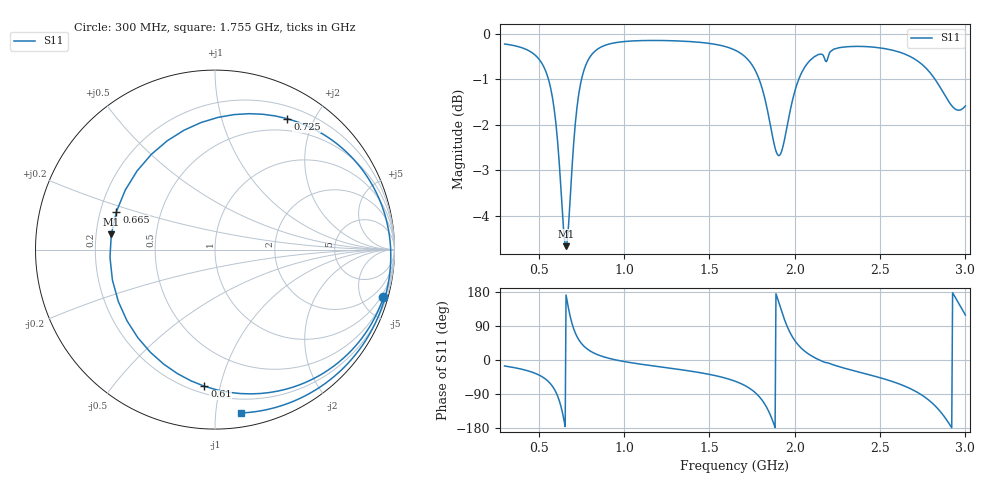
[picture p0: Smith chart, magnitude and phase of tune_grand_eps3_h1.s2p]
! grand-style spiral alone, coupling slab eps 3, 1 mm over the board
! simulated by sim/fixtures_fdtd.py (S12 = S21, S22 not computed)
# HZ S RI R 50
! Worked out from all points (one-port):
!   541 points, 300 MHz to 3 GHz, reference 50 ohm
!   lowest |S11| = -4.7 dB at 660 MHz (marker M1), VSWR 3.81, Z = 13.2 + j3.43 ohm
!   |S11| at or under -10 dB: nowhere
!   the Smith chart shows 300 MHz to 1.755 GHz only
!   S11 on the Smith chart (normalised r, x): 300 MHz: 0.66, -7.13; 610 MHz: 0.25, -0.89; 665 MHz: 0.27, +0.17; 725 MHz: 0.34, +1.64; 1.755 GHz: 0.10, -1.17
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3e8  0.9381 -0.2662  0 0  0 0  0 0
5.15e8  0.6816 -0.6338  0 0  0 0  0 0
6.1e8  -0.0592 -0.7613  0 0  0 0  0 0
6.6e8  -0.5777 0.0857  0 0  0 0  0 0
6.65e8  -0.5489 0.2123  0 0  0 0  0 0
6.95e8  -0.0772 0.7081  0 0  0 0  0 0
7.25e8  0.4031 0.7292  0 0  0 0  0 0
7.5e8  0.6423 0.617  0 0  0 0  0 0
8.7e8  0.9543 0.1663  0 0  0 0  0 0
1.2e9  0.939 -0.2938  0 0  0 0  0 0
1.65e9  0.5387 -0.7947  0 0  0 0  0 0
1.755e9  0.1433 -0.9103  0 0  0 0  0 0
1.83e9  -0.4279 -0.7242  0 0  0 0  0 0
1.89e9  -0.7405 0.0652  0 0  0 0  0 0
1.925e9  -0.437 0.6031  0 0  0 0  0 0
1.96e9  0.0807 0.7959  0 0  0 0  0 0
2.02e9  0.6802 0.5708  0 0  0 0  0 0
2.1e9  0.9238 0.1695  0 0  0 0  0 0
2.55e9  0.5715 -0.7738  0 0  0 0  0 0
2.81e9  -0.386 -0.811  0 0  0 0  0 0
2.915e9  -0.8334 -0.0683  0 0  0 0  0 0
3e9  -0.4014 0.7305  0 0  0 0  0 0
